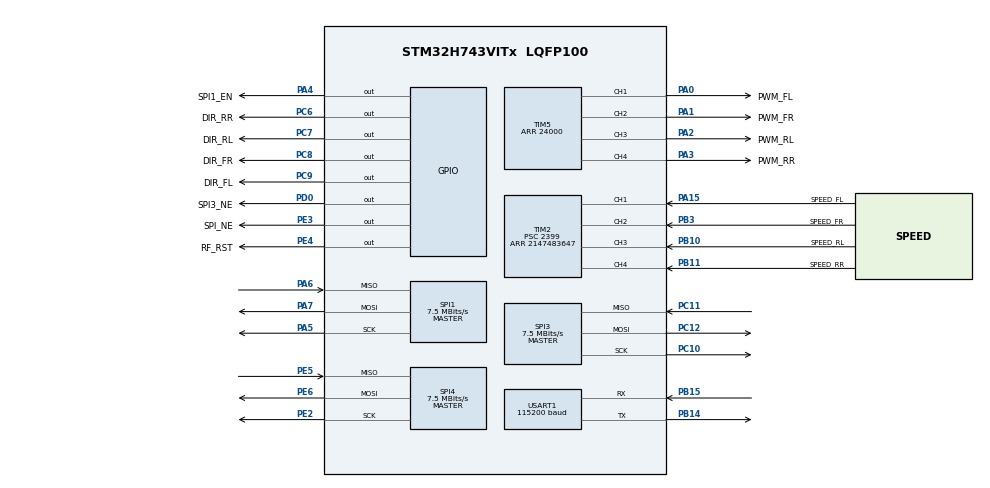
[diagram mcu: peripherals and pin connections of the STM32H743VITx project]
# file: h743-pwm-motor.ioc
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Mcu.Family=STM32H7
Mcu.Name=STM32H743VITx
Mcu.Package=LQFP100
NVIC.PriorityGroup=NVIC_PRIORITYGROUP_4
NVIC.TIM2_IRQn=true\:0\:0\:false\:false\:true\:true\:true
NVIC.TIM6_DAC_IRQn=true\:0\:0\:false\:false\:true\:true\:true
PA0.GPIO_Label=PWM_FL
PA0.Signal=S_TIM5_CH1
PA1.GPIO_Label=PWM_FR
PA1.Signal=S_TIM5_CH2
PA13\ (JTMS/SWDIO).Mode=Serial_Wire
PA13\ (JTMS/SWDIO).Signal=DEBUG_JTMS-SWDIO
PA14\ (JTCK/SWCLK).Mode=Serial_Wire
PA14\ (JTCK/SWCLK).Signal=DEBUG_JTCK-SWCLK
PA15\ (JTDI).GPIO_Label=SPEED_FL
PA15\ (JTDI).Signal=S_TIM2_CH1
PA2.GPIO_Label=PWM_RL
PA2.Signal=S_TIM5_CH3
PA3.GPIO_Label=PWM_RR
PA3.Signal=S_TIM5_CH4
PA4.GPIO_Label=SPI1_EN
PA4.GPIO_Speed=GPIO_SPEED_FREQ_VERY_HIGH
PA4.PinState=GPIO_PIN_SET
PA4.Signal=GPIO_Output
PA5.Mode=Full_Duplex_Master
PA5.Signal=SPI1_SCK
PA6.Mode=Full_Duplex_Master
PA6.Signal=SPI1_MISO
PA7.Mode=Full_Duplex_Master
PA7.Signal=SPI1_MOSI
PB10.GPIO_Label=SPEED_RL
PB10.Signal=S_TIM2_CH3
PB11.GPIO_Label=SPEED_RR
PB11.Signal=S_TIM2_CH4
PB14.Mode=Asynchronous
PB14.Signal=USART1_TX
PB15.Mode=Asynchronous
PB15.Signal=USART1_RX
PB3\ (JTDO/TRACESWO).GPIO_Label=SPEED_FR
PB3\ (JTDO/TRACESWO).Signal=S_TIM2_CH2
PC10.Mode=Full_Duplex_Master
PC10.Signal=SPI3_SCK
PC11.Mode=Full_Duplex_Master
PC11.Signal=SPI3_MISO
PC12.Mode=Full_Duplex_Master
PC12.Signal=SPI3_MOSI
PC6.GPIO_Label=DIR_RR
PC6.GPIO_Speed=GPIO_SPEED_FREQ_VERY_HIGH
PC6.Signal=GPIO_Output
PC7.GPIO_Label=DIR_RL
PC7.GPIO_Speed=GPIO_SPEED_FREQ_VERY_HIGH
PC7.Signal=GPIO_Output
PC8.GPIO_Label=DIR_FR
PC8.GPIO_Speed=GPIO_SPEED_FREQ_VERY_HIGH
PC8.Signal=GPIO_Output
PC9.GPIO_Label=DIR_FL
PC9.GPIO_Speed=GPIO_SPEED_FREQ_VERY_HIGH
PC9.Signal=GPIO_Output
PD0.GPIO_Label=SPI3_NE
PD0.Signal=GPIO_Output
PE2.Mode=Full_Duplex_Master
PE2.Signal=SPI4_SCK
PE3.GPIO_Label=SPI_NE
PE3.GPIO_Speed=GPIO_SPEED_FREQ_VERY_HIGH
PE3.PinState=GPIO_PIN_SET
PE3.Signal=GPIO_Output
PE4.GPIO_Label=RF_RST
PE4.GPIO_PuPd=GPIO_PULLDOWN
PE4.GPIO_Speed=GPIO_SPEED_FREQ_VERY_HIGH
PE4.Signal=GPIO_Output
PE5.Mode=Full_Duplex_Master
PE5.Signal=SPI4_MISO
PE6.Mode=Full_Duplex_Master
PE6.Signal=SPI4_MOSI
PH0-OSC_IN\ (PH0).Mode=HSE-External-Oscillator
PH0-OSC_IN\ (PH0).Signal=RCC_OSC_IN
PH1-OSC_OUT\ (PH1).Mode=HSE-External-Oscillator
PH1-OSC_OUT\ (PH1).Signal=RCC_OSC_OUT
ProjectManager.HeapSize=0x200
ProjectManager.StackSize=0x400
ProjectManager.TargetToolchain=MDK-ARM V5.27
RCC.ADCFreq_Value=30000000
RCC.APB1Freq_Value=120000000
RCC.APB2Freq_Value=120000000
RCC.APB3Freq_Value=120000000
RCC.APB4Freq_Value=120000000
RCC.CortexFreq_Value=480000000
RCC.D1PPRE=RCC_APB3_DIV2
RCC.D2PPRE1=RCC_APB1_DIV2
RCC.D2PPRE2=RCC_APB2_DIV2
RCC.D3PPRE=RCC_APB4_DIV2
RCC.DIVM1=10
RCC.DIVM2=10
RCC.DIVN1=384
RCC.DIVN2=60
RCC.DIVP2=5
RCC.FLatency-AdvancedSettings=FLASH_LATENCY_0
RCC.HCLKFreq_Value=240000000
RCC.HPRE=RCC_HCLK_DIV2
RCC.HSE_VALUE=25000000
RCC.PLLSourceVirtual=RCC_PLLSOURCE_HSE
RCC.SYSCLKFreq_VALUE=480000000
RCC.SYSCLKSource=RCC_SYSCLKSOURCE_PLLCLK
RCC.USBFreq_Value=480000000
SH.S_TIM2_CH1.0=TIM2_CH1,Input_Capture1_from_TI1
SH.S_TIM2_CH2.0=TIM2_CH2,Input_Capture2_from_TI2
SH.S_TIM2_CH3.0=TIM2_CH3,Input_Capture3_from_TI3
SH.S_TIM2_CH4.0=TIM2_CH4,Input_Capture4_from_TI4
SH.S_TIM5_CH1.0=TIM5_CH1,PWM Generation1 CH1
SH.S_TIM5_CH2.0=TIM5_CH2,PWM Generation2 CH2
SH.S_TIM5_CH3.0=TIM5_CH3,PWM Generation3 CH3
SH.S_TIM5_CH4.0=TIM5_CH4,PWM Generation4 CH4
SPI1.BaudRatePrescaler=SPI_BAUDRATEPRESCALER_64
SPI1.CalculateBaudRate=7.5 MBits/s
SPI1.DataSize=SPI_DATASIZE_8BIT
SPI1.Direction=SPI_DIRECTION_2LINES
SPI1.Mode=SPI_MODE_MASTER
SPI1.VirtualType=VM_MASTER
SPI3.BaudRatePrescaler=SPI_BAUDRATEPRESCALER_64
SPI3.CalculateBaudRate=7.5 MBits/s
SPI3.DataSize=SPI_DATASIZE_8BIT
SPI3.Direction=SPI_DIRECTION_2LINES
SPI3.Mode=SPI_MODE_MASTER
SPI3.VirtualType=VM_MASTER
SPI4.BaudRatePrescaler=SPI_BAUDRATEPRESCALER_16
SPI4.CLKPolarity=SPI_POLARITY_LOW
SPI4.CalculateBaudRate=7.5 MBits/s
SPI4.DataSize=SPI_DATASIZE_8BIT
SPI4.Direction=SPI_DIRECTION_2LINES
SPI4.FirstBit=SPI_FIRSTBIT_MSB
SPI4.Mode=SPI_MODE_MASTER
SPI4.VirtualType=VM_MASTER
TIM2.AutoReloadPreload=TIM_AUTORELOAD_PRELOAD_ENABLE
TIM2.Channel-Input_Capture1_from_TI1=TIM_CHANNEL_1
TIM2.Channel-Input_Capture2_from_TI2=TIM_CHANNEL_2
TIM2.Channel-Input_Capture3_from_TI3=TIM_CHANNEL_3
TIM2.Channel-Input_Capture4_from_TI4=TIM_CHANNEL_4
TIM2.Period=2147483647
TIM2.Prescaler=2399
TIM5.AutoReloadPreload=TIM_AUTORELOAD_PRELOAD_ENABLE
TIM5.Channel-PWM\ Generation1\ CH1=TIM_CHANNEL_1
TIM5.Channel-PWM\ Generation2\ CH2=TIM_CHANNEL_2
TIM5.Channel-PWM\ Generation3\ CH3=TIM_CHANNEL_3
TIM5.Channel-PWM\ Generation4\ CH4=TIM_CHANNEL_4
TIM5.Period=24000
TIM6.AutoReloadPreload=TIM_AUTORELOAD_PRELOAD_ENABLE
TIM6.Period=9
TIM6.Prescaler=23999
USART1.BaudRate=115200
USART1.VirtualMode-Asynchronous=VM_ASYNC
VP_TIM2_VS_ClockSourceINT.Mode=Internal
VP_TIM5_VS_ClockSourceINT.Mode=Internal
VP_TIM6_VS_ClockSourceINT.Mode=Enable_Timer
board=custom

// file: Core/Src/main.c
/* USER CODE BEGIN Header */
/**
  ******************************************************************************
  * @file           : main.c
  * @brief          : Main program body
  ******************************************************************************
  * @attention
  *
  * <h2><center>&copy; Copyright (c) 2021 STMicroelectronics.
  * All rights reserved.</center></h2>
  *
  * This software component is licensed by ST under BSD 3-Clause license,
  * the "License"; You may not use this file except in compliance with the
  * License. You may obtain a copy of the License at:
  *                        opensource.org/licenses/BSD-3-Clause
  *
  ******************************************************************************
  */
/* USER CODE END Header */
#include "main.h"
#include "spi.h"
#include "tim.h"
#include "usart.h"
#include "gpio.h"

/* USER CODE BEGIN Includes */
#include "pid.h"
#include "stdio.h"
#include "delay.h"
#include "stdlib.h"
#include "SX1231_APP.h"
#include "ADS7953.h"

/* USER CODE END Includes */

void SystemClock_Config(void);

int main(void)
{
  /* USER CODE BEGIN 1 */
	uint8_t bfr[SX1231_PayloadLength];
	uint8_t id, ack, dat[6], i, rx_Valid;
	uint32_t invalid_cnt = 0;
	int32_t rmt_LY[2], rmt_LX[2], rmt_RY[2], rmt_RX[2];
	int32_t rmt_LY_o, rmt_LX_o, rmt_RY_o, rmt_RX_o;
	int32_t speed_X, speed_Y, speed_R;
	int32_t speed_FL, speed_FR, speed_RL, speed_RR;
  /* USER CODE END 1 */

  /* MCU Configuration--------------------------------------------------------*/

  /* Reset of all peripherals, Initializes the Flash interface and the Systick. */

  LL_APB4_GRP1_EnableClock(LL_APB4_GRP1_PERIPH_SYSCFG);

  NVIC_SetPriorityGrouping(NVIC_PRIORITYGROUP_4);

  /* System interrupt init*/

  /* Configure the system clock */
  SystemClock_Config();

  /* Initialize all configured peripherals */
  MX_GPIO_Init();
  MX_USART1_UART_Init();
  MX_TIM2_Init();
  MX_TIM5_Init();
  MX_SPI4_Init();
  MX_TIM6_Init();
  MX_SPI1_Init();
  MX_SPI3_Init();
  /* USER CODE BEGIN 2 */

	LL_SPI_Enable(SPI4);
	LL_SPI_Enable(SPI1);
	LL_SPI_Enable(SPI3);

	LL_TIM_CC_EnableChannel(TIM5, LL_TIM_CHANNEL_CH1);
	LL_TIM_CC_EnableChannel(TIM5, LL_TIM_CHANNEL_CH2);
	LL_TIM_CC_EnableChannel(TIM5, LL_TIM_CHANNEL_CH3);
	LL_TIM_CC_EnableChannel(TIM5, LL_TIM_CHANNEL_CH4);
	LL_TIM_EnableAllOutputs(TIM5);
	LL_TIM_EnableCounter(TIM5);
	//LL_TIM_OC_SetCompareCH2(TIM5, 24000);

	LL_TIM_IC_SetPolarity(TIM2, LL_TIM_CHANNEL_CH1, LL_TIM_IC_POLARITY_RISING);
	LL_TIM_IC_SetPolarity(TIM2, LL_TIM_CHANNEL_CH2, LL_TIM_IC_POLARITY_RISING);
	LL_TIM_IC_SetPolarity(TIM2, LL_TIM_CHANNEL_CH3, LL_TIM_IC_POLARITY_RISING);
	LL_TIM_IC_SetPolarity(TIM2, LL_TIM_CHANNEL_CH4, LL_TIM_IC_POLARITY_RISING);
	LL_TIM_CC_EnableChannel(TIM2, LL_TIM_CHANNEL_CH1);
	LL_TIM_CC_EnableChannel(TIM2, LL_TIM_CHANNEL_CH2);
	LL_TIM_CC_EnableChannel(TIM2, LL_TIM_CHANNEL_CH3);
	LL_TIM_CC_EnableChannel(TIM2, LL_TIM_CHANNEL_CH4);
	LL_TIM_EnableIT_CC1(TIM2);
	LL_TIM_EnableIT_CC2(TIM2);
	LL_TIM_EnableIT_CC3(TIM2);
	LL_TIM_EnableIT_CC4(TIM2);
	LL_TIM_EnableCounter(TIM2);

	LL_TIM_EnableIT_UPDATE(TIM6);
	LL_TIM_EnableCounter(TIM6);

  SX1231_Init_Secondary();
  while (!SX1231_IsActiveFlag_ModeReady(&SX1231_Secondary))
  {
    printf("wait\r\n");
  }

	printf("aaaa\r\n");

	ADS7953_Typedef ADS7953_F, ADS7953_R;

	ADS7953_F.ADC_Range = ADS7953_Range_VREF;
	ADS7953_F.SPI_Port = SPI1;
	ADS7953_F.NSS_GPIO_Pin = SPI1_EN_Pin;
	ADS7953_F.NSS_GPIO_Port = SPI1_EN_GPIO_Port;

	ADS7953_R.ADC_Range = ADS7953_Range_VREF;
	ADS7953_R.SPI_Port = SPI3;
	ADS7953_R.NSS_GPIO_Pin = SPI3_NE_Pin;
	ADS7953_R.NSS_GPIO_Port = SPI3_NE_GPIO_Port;

	uint16_t ADS7953_F_bfr[16];
	uint16_t ADS7953_R_bfr[16];

	rmt_LX[0] = 0x810;
	rmt_LY[0] = 0x820;
	rmt_RX[0] = 0x820;
	rmt_RY[0] = 0x820;

  /* USER CODE END 2 */

  /* Infinite loop */
  while (1)
  {

    /* USER CODE BEGIN 3 */

		/*
		LL_GPIO_ResetOutputPin(SPI_NE_GPIO_Port, SPI_NE_Pin);
		SPI_ReadWriteByte(SPI4, 0x01);
		id = SPI_ReadWriteByte(SPI4, 0x42);
		ack = SPI_ReadWriteByte(SPI4, 0xff);
		for(i=0; i<6; i++)
		{
			dat[i] = SPI_ReadWriteByte(SPI4, 0xff);
		}
		LL_GPIO_SetOutputPin(SPI_NE_GPIO_Port, SPI_NE_Pin);
		*/

		ADS7953_ReadChannels(&ADS7953_F, ADS7953_F_bfr, ADS7953_Channel_All);
		ADS7953_ReadChannels(&ADS7953_R, ADS7953_R_bfr, ADS7953_Channel_All);

		for(i=0; i<16; i++)
			printf("F%03x ", ADS7953_F_bfr[i]);
		//printf("\r\n");

		for(i=0; i<16; i++)
			printf("R%03x ", ADS7953_R_bfr[i]);
		printf("\r\n");

		rx_Valid = 0;
		if(SX1231_Secondary_ReceivePacket(bfr))
			if(bfr[0] == 0x23 && bfr[1] == 0x33)
			{
				rx_Valid = 1;
				invalid_cnt = 0;

				rmt_LX[1] = rmt_LX[0];
				rmt_LY[1] = rmt_LY[0];
				rmt_RX[1] = rmt_RX[0];
				rmt_RY[1] = rmt_RY[0];

				rmt_LX[0] = bfr[8] << 8 | bfr[9];
				rmt_LY[0] = bfr[10] << 8 | bfr[11];
				rmt_RX[0] = bfr[4] << 8 | bfr[5];
				rmt_RY[0] = bfr[6] << 8 | bfr[7];

				rmt_LX_o = (rmt_LX[0] + rmt_LX[1]) / 2;
				rmt_LY_o = (rmt_LY[0] + rmt_LY[1]) / 2;
				rmt_RX_o = (rmt_RX[0] + rmt_RX[1]) / 2;
				rmt_RY_o = (rmt_RY[0] + rmt_RY[1]) / 2;

				rmt_LX_o -= 0x810;
				rmt_LY_o -= 0x820;
				rmt_RX_o -= 0x820;
				rmt_RY_o -= 0x820;

				rmt_LX_o = sign(rmt_LX_o) * rmt_LX_o * rmt_LX_o / 2000;
				rmt_LY_o = sign(rmt_LY_o) * rmt_LY_o * rmt_LY_o / 2000;
				rmt_RX_o = sign(rmt_RX_o) * rmt_RX_o * rmt_RX_o / 2000;
				rmt_RY_o = sign(rmt_RY_o) * rmt_RY_o * rmt_RY_o / 2000;

				if(labs(rmt_LX_o) < 30)
					rmt_LX_o = 0;
				else
					rmt_LX_o -= 30;
				if(labs(rmt_LY_o) < 30)
					rmt_LY_o = 0;
				else
					rmt_LY_o -= 30;
				if(labs(rmt_RX_o) < 30)
					rmt_RX_o = 0;
				else
					rmt_RX_o -= 30;
				if(labs(rmt_RY_o) < 30)
					rmt_RY_o = 0;
				else
					rmt_RY_o -= 30;

				speed_Y = (rmt_LY_o + rmt_RY_o);
				speed_R = rmt_LX_o;
				speed_X = rmt_RX_o;

				speed_FL = speed_Y - speed_X + speed_R;
				speed_FR = speed_Y + speed_X - speed_R;
				speed_RL = speed_Y - speed_X - speed_R;
				speed_RR = speed_Y + speed_X + speed_R;

				FL_Target = sign(speed_FL) * SPEED_MIN + speed_FL * (SPEED_MAX - SPEED_MIN) / 4100;
				FR_Target = sign(speed_FR) * SPEED_MIN + speed_FR * (SPEED_MAX - SPEED_MIN) / 4100;
				RL_Target = sign(speed_RL) * SPEED_MIN + speed_RL * (SPEED_MAX - SPEED_MIN) / 4100;
				RR_Target = sign(speed_RR) * SPEED_MIN + speed_RR * (SPEED_MAX - SPEED_MIN) / 4100;

				if(fabs(FL_Target) > SPEED_MAX)
					FL_Target = SPEED_MAX * sign(FL_Target);
				if(fabs(FR_Target) > SPEED_MAX)
					FR_Target = SPEED_MAX * sign(FR_Target);
				if(fabs(RL_Target) > SPEED_MAX)
					RL_Target = SPEED_MAX * sign(RL_Target);
				if(fabs(RR_Target) > SPEED_MAX)
					RR_Target = SPEED_MAX * sign(RR_Target);

				if(fabs(FL_Target) < SPEED_MIN + 1)
					FL_Target = 0;
				if(fabs(FR_Target) < SPEED_MIN + 1)
					FR_Target = 0;
				if(fabs(RL_Target) < SPEED_MIN + 1)
					RL_Target = 0;
				if(fabs(RR_Target) < SPEED_MIN + 1)
					RR_Target = 0;

				kP = (float)bfr[12] + (float)bfr[13] / 10;
				kI = (float)bfr[14] + (float)bfr[15] / 10;
				kD = (float)bfr[16] + (float)bfr[17] / 10;

			}
		if(! rx_Valid)
		{
			invalid_cnt++;
			//printf("%d\r\n", invalid_cnt);
			if(invalid_cnt > 20)
			{
				invalid_cnt = 20+1;
				FL_Target = 0;
				FR_Target = 0;
				RL_Target = 0;
				RR_Target = 0;
			}
		}
  }
  /* USER CODE END 3 */
}

void SystemClock_Config(void)
{
  LL_FLASH_SetLatency(LL_FLASH_LATENCY_4);
  while(LL_FLASH_GetLatency()!= LL_FLASH_LATENCY_4)
  {
  }
  LL_PWR_ConfigSupply(LL_PWR_LDO_SUPPLY);
  LL_PWR_SetRegulVoltageScaling(LL_PWR_REGU_VOLTAGE_SCALE0);
  LL_RCC_HSE_Enable();

   /* Wait till HSE is ready */
  while(LL_RCC_HSE_IsReady() != 1)
  {

  }
  LL_RCC_PLL_SetSource(LL_RCC_PLLSOURCE_HSE);
  LL_RCC_PLL1P_Enable();
  LL_RCC_PLL1Q_Enable();
  LL_RCC_PLL1R_Enable();
  LL_RCC_PLL1_SetVCOInputRange(LL_RCC_PLLINPUTRANGE_2_4);
  LL_RCC_PLL1_SetVCOOutputRange(LL_RCC_PLLVCORANGE_WIDE);
  LL_RCC_PLL1_SetM(10);
  LL_RCC_PLL1_SetN(384);
  LL_RCC_PLL1_SetP(2);
  LL_RCC_PLL1_SetQ(2);
  LL_RCC_PLL1_SetR(2);
  LL_RCC_PLL1_Enable();

   /* Wait till PLL is ready */
  while(LL_RCC_PLL1_IsReady() != 1)
  {
  }

   /* Intermediate AHB prescaler 2 when target frequency clock is higher than 80 MHz */
   LL_RCC_SetAHBPrescaler(LL_RCC_AHB_DIV_2);

  LL_RCC_SetSysClkSource(LL_RCC_SYS_CLKSOURCE_PLL1);
  LL_RCC_SetSysPrescaler(LL_RCC_SYSCLK_DIV_1);
  LL_RCC_SetAHBPrescaler(LL_RCC_AHB_DIV_2);
  LL_RCC_SetAPB1Prescaler(LL_RCC_APB1_DIV_2);
  LL_RCC_SetAPB2Prescaler(LL_RCC_APB2_DIV_2);
  LL_RCC_SetAPB3Prescaler(LL_RCC_APB3_DIV_2);
  LL_RCC_SetAPB4Prescaler(LL_RCC_APB4_DIV_2);

  LL_Init1msTick(480000000);

  LL_SetSystemCoreClock(480000000);
  LL_RCC_SetSPIClockSource(LL_RCC_SPI123_CLKSOURCE_PLL1Q);
  LL_RCC_SetSPIClockSource(LL_RCC_SPI45_CLKSOURCE_PCLK2);
  LL_RCC_SetUSARTClockSource(LL_RCC_USART16_CLKSOURCE_PCLK2);
}

/* USER CODE BEGIN 4 */
int fputc(int ch, FILE* f)
{
	LL_USART_TransmitData8(USART1, (unsigned char)ch);
	while(!LL_USART_IsActiveFlag_TXE(USART1));
	return ch;
}

int32_t sign(int32_t x)
{
	return x > 0 ? 1 : -1;
}

/* USER CODE END 4 */

void Error_Handler(void)
{
  __disable_irq();
  while (1)
  {
  }
}

/************************ (C) COPYRIGHT STMicroelectronics *****END OF FILE****/
